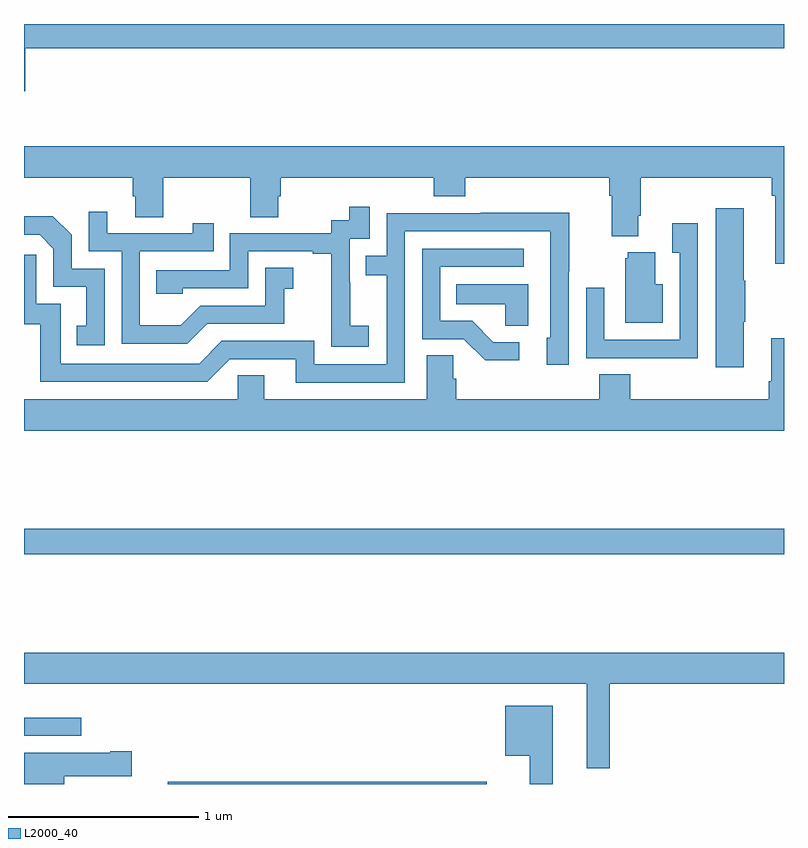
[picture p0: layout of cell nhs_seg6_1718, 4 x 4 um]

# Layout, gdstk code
import gdstk
lib = gdstk.Library(unit=1e-6, precision=1e-09)
def R(c, l, rs):  # rectangles x0, y0, x1, y1
    for r in rs: c.add(gdstk.rectangle(r[:2], r[2:], *l))
def P(c, l, *ps):  # polygons
    for p in ps: c.add(gdstk.Polygon(p, *l))
L2000_40 = (2000, 40)

nhs_seg6_1718 = lib.new_cell('nhs_seg6_1718')
R(nhs_seg6_1718, L2000_40, [(215.757,921.5,217.436,921.512), (215,921.753,215.302,921.85), (215,922.708,219,922.844)])
P(nhs_seg6_1718, L2000_40, [(215.006,925.372),(219,925.372),(219,925.5),(215,925.5),(215,925.146),(215.006,925.146)],
  [(219,924.856),(215,924.856),(215,924.692),(215.573,924.692),(215.573,924.594),(215.585,924.594),(215.585,924.484),(215.733,924.484),(215.733,924.692),(216.19,924.692),(216.19,924.484),(216.337,924.484),(216.337,924.594),(216.35,924.594),(216.35,924.692),(217.157,924.692),(217.157,924.593),(217.322,924.593),(217.322,924.692),(218.081,924.692),(218.081,924.596),(218.093,924.596),(218.093,924.383),(218.233,924.383),(218.233,924.49),(218.246,924.49),(218.246,924.692),(218.935,924.692),(218.935,924.596),(218.954,924.596),(218.954,924.237),(219,924.237)],
  [(216.814,923.911),(216.716,923.911),(216.716,924.14),(216.714,924.14),(216.714,924.369),(216.819,924.369),(216.819,924.538),(216.711,924.538),(216.711,924.468),(216.618,924.468),(216.618,924.399),(216.084,924.399),(216.084,924.204),(215.695,924.204),(215.695,924.081),(215.835,924.081),(215.835,924.108),(216.18,924.108),(216.18,924.303),(216.521,924.303),(216.521,924.291),(216.617,924.291),(216.617,924.007),(216.616,924.007),(216.616,923.801),(216.814,923.801)],
  [(218.788,923.932),(218.796,923.932),(218.796,924.149),(218.788,924.149),(218.788,924.529),(218.642,924.529),(218.642,923.694),(218.788,923.694)],
  [(215.965,923.922),(216.369,923.922),(216.369,924.107),(216.418,924.107),(216.418,924.217),(216.27,924.217),(216.27,924.018),(215.928,924.018),(215.824,923.914),(215.61,923.914),(215.61,924.303),(215.999,924.303),(215.999,924.451),(215.888,924.451),(215.888,924.399),(215.437,924.399),(215.437,924.511),(215.34,924.511),(215.34,924.303),(215.514,924.303),(215.514,923.817),(215.86,923.817)],
  [(217.005,924.408),(217.77,924.408),(217.77,923.85),(217.751,923.85),(217.751,923.706),(217.866,923.706),(217.866,924.199),(217.869,924.199),(217.869,924.506),(217.405,924.506),(217.405,924.504),(216.909,924.504),(216.909,924.279),(216.799,924.279),(216.799,924.178),(216.909,924.178),(216.909,923.709),(216.528,923.709),(216.528,923.832),(216.042,923.832),(215.922,923.712),(215.193,923.712),(215.193,924.027),(215.064,924.027),(215.064,924.286),(215,924.286),(215,923.919),(215.085,923.919),(215.085,923.616),(215.964,923.616),(216.084,923.736),(216.431,923.736),(216.431,923.613),(217.005,923.613)],
  [(215.424,924.213),(215.25,924.213),(215.25,924.39),(215.152,924.488),(215,924.488),(215,924.39),(215.082,924.39),(215.154,924.318),(215.154,924.117),(215.327,924.117),(215.327,923.913),(215.278,923.913),(215.278,923.808),(215.424,923.808)],
  [(218.547,924.451),(218.411,924.451),(218.411,924.295),(218.451,924.295),(218.451,923.838),(218.055,923.838),(218.055,924.112),(217.959,924.112),(217.959,923.742),(218.275,923.742),(218.275,923.741),(218.547,923.741)],
  [(217.606,923.826),(217.471,923.826),(217.36,923.937),(217.191,923.937),(217.191,924.222),(217.63,924.222),(217.63,924.318),(217.095,924.318),(217.095,923.841),(217.314,923.841),(217.427,923.729),(217.606,923.729)],
  [(218.362,924.13),(218.323,924.13),(218.323,924.298),(218.177,924.298),(218.177,924.267),(218.165,924.267),(218.165,923.927),(218.362,923.927)],
  [(217.654,924.13),(217.276,924.13),(217.276,924.026),(217.533,924.026),(217.533,923.911),(217.654,923.911)],
  [(219,923.845),(218.933,923.845),(218.933,923.62),(218.921,923.62),(218.921,923.524),(218.192,923.524),(218.192,923.657),(218.027,923.657),(218.027,923.524),(217.274,923.524),(217.274,923.633),(217.26,923.633),(217.26,923.756),(217.121,923.756),(217.121,923.524),(216.265,923.524),(216.265,923.651),(216.126,923.651),(216.126,923.524),(215,923.524),(215,923.36),(219,923.36)],
  [(218.083,922.028),(219,922.028),(219,922.192),(215,922.192),(215,922.028),(217.961,922.028),(217.961,921.584),(218.083,921.584)],
  [(217.783,921.913),(217.532,921.913),(217.532,921.65),(217.662,921.65),(217.662,921.5),(217.783,921.5)],
  [(215.212,921.542),(215.566,921.542),(215.566,921.672),(215.453,921.672),(215.453,921.664),(215,921.664),(215,921.5),(215.212,921.5)])

lib.write_gds('nhs_seg6_1718.gds')
